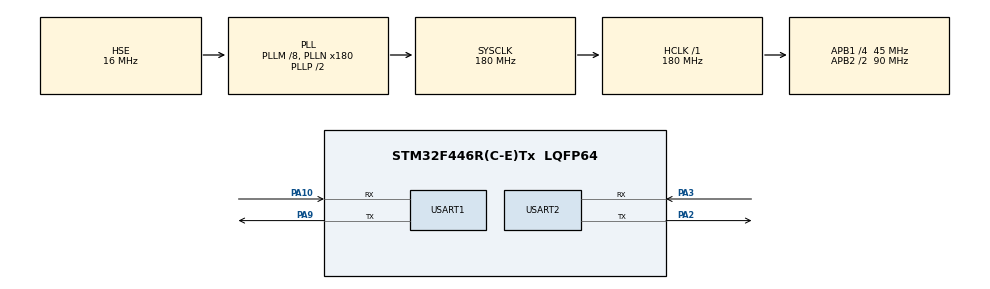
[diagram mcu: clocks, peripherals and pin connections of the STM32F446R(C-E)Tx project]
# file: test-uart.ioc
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Mcu.Family=STM32F4
Mcu.Name=STM32F446R(C-E)Tx
Mcu.Package=LQFP64
NVIC.PriorityGroup=NVIC_PRIORITYGROUP_4
NVIC.RCC_IRQn=true\:0\:0\:false\:false\:true\:true\:false
NVIC.TIM6_DAC_IRQn=true\:0\:0\:false\:false\:true\:true\:true
NVIC.TIM7_IRQn=true\:0\:0\:false\:false\:true\:true\:true
NVIC.USART1_IRQn=true\:0\:0\:false\:false\:true\:true\:true
NVIC.USART2_IRQn=true\:0\:0\:false\:false\:true\:true\:true
PA10.Mode=Asynchronous
PA10.Signal=USART1_RX
PA13.Mode=Serial_Wire
PA13.Signal=SYS_JTMS-SWDIO
PA14.Mode=Serial_Wire
PA14.Signal=SYS_JTCK-SWCLK
PA2.Mode=Asynchronous
PA2.Signal=USART2_TX
PA3.Mode=Asynchronous
PA3.Signal=USART2_RX
PA9.Mode=Asynchronous
PA9.Signal=USART1_TX
PH0-OSC_IN.Mode=HSE-External-Oscillator
PH0-OSC_IN.Signal=RCC_OSC_IN
PH1-OSC_OUT.Mode=HSE-External-Oscillator
PH1-OSC_OUT.Signal=RCC_OSC_OUT
ProjectManager.HeapSize=0x200
ProjectManager.StackSize=0x400
ProjectManager.TargetToolchain=STM32CubeIDE
RCC.AHBFreq_Value=180000000
RCC.APB1CLKDivider=RCC_HCLK_DIV4
RCC.APB1Freq_Value=45000000
RCC.APB1TimFreq_Value=90000000
RCC.APB2CLKDivider=RCC_HCLK_DIV2
RCC.APB2Freq_Value=90000000
RCC.APB2TimFreq_Value=180000000
RCC.CortexFreq_Value=180000000
RCC.HCLKFreq_Value=180000000
RCC.HSE_VALUE=16000000
RCC.PLLM=8
RCC.PLLN=180
RCC.PLLSourceVirtual=RCC_PLLSOURCE_HSE
RCC.SYSCLKFreq_VALUE=180000000
RCC.SYSCLKSource=RCC_SYSCLKSOURCE_PLLCLK
RCC.USBFreq_Value=180000000
RCC.VCOOutputFreq_Value=360000000
TIM6.Period=999
TIM6.Prescaler=8999
TIM7.Prescaler=8999
USART1.VirtualMode=VM_ASYNC
USART2.VirtualMode=VM_ASYNC
VP_TIM6_VS_ClockSourceINT.Mode=Enable_Timer
VP_TIM7_VS_ClockSourceINT.Mode=Enable_Timer
board=custom

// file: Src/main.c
/* USER CODE BEGIN Header */
/**
  ******************************************************************************
  * @file           : main.c
  * @brief          : Main program body
  ******************************************************************************
  * @attention
  *
  * <h2><center>&copy; Copyright (c) 2019 STMicroelectronics.
  * All rights reserved.</center></h2>
  *
  * This software component is licensed by ST under BSD 3-Clause license,
  * the "License"; You may not use this file except in compliance with the
  * License. You may obtain a copy of the License at:
  *                        opensource.org/licenses/BSD-3-Clause
  *
  ******************************************************************************
  */
/* USER CODE END Header */

#include "main.h"
#include "tim.h"
#include "usart.h"
#include "gpio.h"

/* USER CODE BEGIN PV */
uint8_t sendData[13];
/* USER CODE END PV */

void SystemClock_Config(void);

int main(void)
{

  /* MCU Configuration--------------------------------------------------------*/

  /* Reset of all peripherals, Initializes the Flash interface and the Systick. */
  HAL_Init();

  /* Configure the system clock */
  SystemClock_Config();

  /* Initialize all configured peripherals */
  MX_GPIO_Init();
  MX_TIM6_Init();
  MX_TIM7_Init();
  MX_USART1_UART_Init();
  MX_USART2_UART_Init();
  /* USER CODE BEGIN 2 */
  HAL_TIM_Base_Start_IT(&htim6);
  HAL_TIM_Base_Start_IT(&htim7);
  for(int i = 0 ; i < 13; i ++)
	  sendData[i] = 1;
  /* USER CODE END 2 */

  /* Infinite loop */
  while (1)
  {

    /* USER CODE BEGIN 3 */

	  sendData[0] = 0xFF;
	  sendData[1] = 0xFF;
	  sendData[2] = 10;
	  sendData[3]++;
	  sendData[12]++;
	  HAL_UART_Transmit(&huart1, sendData, sizeof(sendData), 0xFFFFFFFF);
	  HAL_Delay(10);
  }
  /* USER CODE END 3 */
}

void SystemClock_Config(void)
{
  RCC_OscInitTypeDef RCC_OscInitStruct = {0};
  RCC_ClkInitTypeDef RCC_ClkInitStruct = {0};

  /** Configure the main internal regulator output voltage
  */
  __HAL_RCC_PWR_CLK_ENABLE();
  __HAL_PWR_VOLTAGESCALING_CONFIG(PWR_REGULATOR_VOLTAGE_SCALE1);
  /** Initializes the CPU, AHB and APB busses clocks
  */
  RCC_OscInitStruct.OscillatorType = RCC_OSCILLATORTYPE_HSE;
  RCC_OscInitStruct.HSEState = RCC_HSE_ON;
  RCC_OscInitStruct.PLL.PLLState = RCC_PLL_ON;
  RCC_OscInitStruct.PLL.PLLSource = RCC_PLLSOURCE_HSE;
  RCC_OscInitStruct.PLL.PLLM = 8;
  RCC_OscInitStruct.PLL.PLLN = 180;
  RCC_OscInitStruct.PLL.PLLP = RCC_PLLP_DIV2;
  RCC_OscInitStruct.PLL.PLLQ = 2;
  RCC_OscInitStruct.PLL.PLLR = 2;
  if (HAL_RCC_OscConfig(&RCC_OscInitStruct) != HAL_OK)
  {
    Error_Handler();
  }
  /** Activate the Over-Drive mode
  */
  if (HAL_PWREx_EnableOverDrive() != HAL_OK)
  {
    Error_Handler();
  }
  /** Initializes the CPU, AHB and APB busses clocks
  */
  RCC_ClkInitStruct.ClockType = RCC_CLOCKTYPE_HCLK|RCC_CLOCKTYPE_SYSCLK
                              |RCC_CLOCKTYPE_PCLK1|RCC_CLOCKTYPE_PCLK2;
  RCC_ClkInitStruct.SYSCLKSource = RCC_SYSCLKSOURCE_PLLCLK;
  RCC_ClkInitStruct.AHBCLKDivider = RCC_SYSCLK_DIV1;
  RCC_ClkInitStruct.APB1CLKDivider = RCC_HCLK_DIV4;
  RCC_ClkInitStruct.APB2CLKDivider = RCC_HCLK_DIV2;

  if (HAL_RCC_ClockConfig(&RCC_ClkInitStruct, FLASH_LATENCY_5) != HAL_OK)
  {
    Error_Handler();
  }
}

/* USER CODE BEGIN 4 */

void HAL_TIM_PeriodElapsedCallback(TIM_HandleTypeDef *htim)
{
	if(htim->Instance == TIM6)
	{

	}
	else if(htim->Instance == TIM7)
	{

	}
}
/* USER CODE END 4 */

void Error_Handler(void)
{
}

/************************ (C) COPYRIGHT STMicroelectronics *****END OF FILE****/
